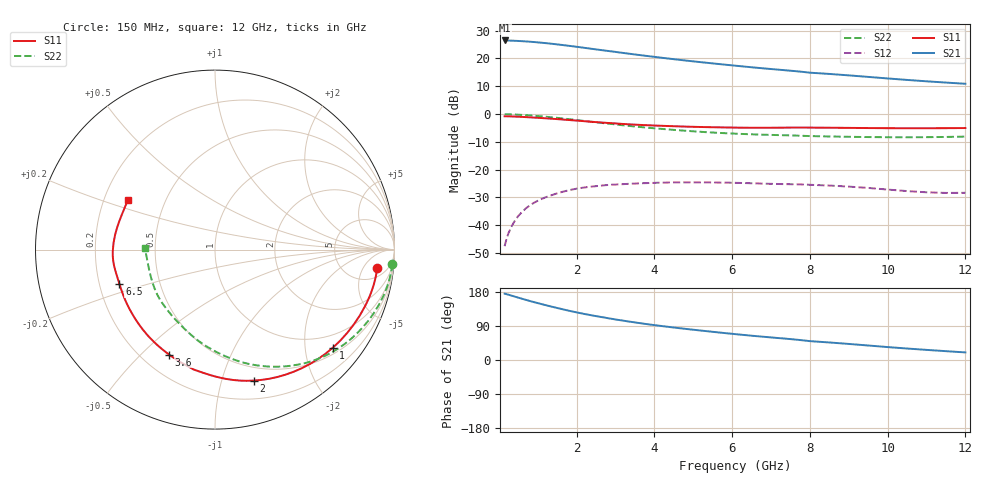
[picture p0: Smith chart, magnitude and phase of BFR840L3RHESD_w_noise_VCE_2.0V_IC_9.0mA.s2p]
! Infineon Technologies  Discrete & RF Semiconductors
! BFR840L3RHESD
! VCE =  2.0 V,  IC =  9.0 mA
! Common Emitter S-Parameters:  Jun 2012
# GHz  S  MA  R  50
!  f  S11  S21  S12  S22
! GHz  MAG  ANG  MAG  ANG  MAG  ANG  MAG  ANG
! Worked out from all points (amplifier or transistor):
!   91 points, 150 MHz to 12 GHz, reference 50 ohm
!   highest |S21| = 26.4 dB at 150 MHz (marker M1)
!   |S21| within 3 dB of that: start of sweep to 2.389 GHz
!   unconditionally stable (mu >= 1): 8.55 GHz to end of sweep
!   at 1.3 GHz: K = 0.12, MSG = 27.4 dB, |S12| = -29.5 dB
!   at 4.3 GHz: K = 0.39, MSG = 22.4 dB, |S12| = -24.7 dB
!   at 12 GHz: K = 2.15, MAG = 13.5 dB, |S12| = -28.3 dB
!   lowest NFmin = 0.66 dB at 450 MHz
!   S11 on the Smith chart (normalised r, x): 150 MHz: 9, -10; 1 GHz: 0.65, -2.63; 2 GHz: 0.37, -1.27; 3.6 GHz: 0.31, -0.61; 6.5 GHz: 0.29, -0.16; 12 GHz: 0.30, +0.24
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0.15  0.909 -6.3  21.01 175.2  0.0042 87.7  0.9916 -4.7
0.3  0.9059 -12.4  20.88 170.7  0.0086 82.9  0.986 -9.7
0.5  0.8937 -20.5  20.58 164.6  0.0146 74.4  0.9718 -15.9
0.8  0.8707 -32.2  19.95 155.7  0.0228 67.7  0.942 -24.8
1  0.8544 -39.7  19.43 150.2  0.0275 64.2  0.9188 -30.5
1.3  0.8281 -50.3  18.52 142.3  0.0336 58.5  0.8806 -38.7
1.5  0.8095 -57.2  17.86 137.3  0.0374 54.4  0.8529 -43.9
1.8  0.7806 -67.2  16.85 130.1  0.0425 48.8  0.809 -51.3
2  0.7614 -73.4  16.17 125.7  0.0454 45.7  0.779 -55.9
2.2  0.7423 -79.4  15.5 121.5  0.0477 43.1  0.7497 -60.4
2.6  0.7063 -90.1  14.21 114.0  0.0513 37.3  0.6962 -68.5
3  0.6779 -100.3  13.09 107.0  0.0538 32.7  0.6499 -75.8
3.3  0.6555 -107.1  12.27 102.2  0.0553 28.9  0.6158 -81.2
3.6  0.6385 -113.6  11.54 97.7  0.0565 26.2  0.5869 -86.2
4.2  0.613 -125.2  10.25 89.5  0.0583 21.8  0.5388 -95.5
5  0.5883 -139.1  8.847 79.9  0.059 16.7  0.4884 -106.9
6.1  0.5693 -155.2  7.374 68.1  0.0578 10.8  0.4425 -121.6
6.5  0.5658 -160.3  6.928 64.1  0.0568 9.3  0.4314 -126.7
8  0.5695 -179.3  5.535 49.8  0.0533 4.2  0.4009 -146.8
8.5  0.5665 176.2  5.254 46.3  0.0517 3.1  0.3946 -151.3
10.5  0.5543 159.0  4.099 30.3  0.0411 4.9  0.382 -170.5
12  0.5591 150.2  3.498 20.0  0.0383 16.9  0.3925 178.8
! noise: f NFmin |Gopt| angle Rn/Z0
0.45  0.66  0.35  7  0.16
0.9  0.69  0.36  12  0.16
1.9  0.72  0.37  29  0.15
3.5  0.73  0.35  49  0.14
4  0.75  0.35  59  0.14
5.5  0.78  0.36  72  0.13
7  0.85  0.35  92  0.11
8  0.91  0.33  102  0.11
10  1.01  0.32  124  0.1
12  1.16  0.28  156  0.09
